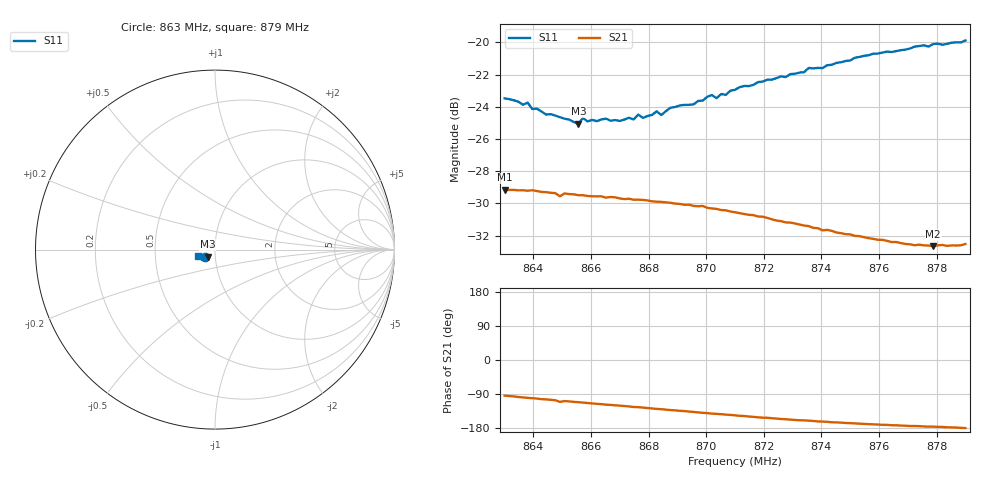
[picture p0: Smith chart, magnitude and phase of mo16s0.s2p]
# HZ S RI R 50
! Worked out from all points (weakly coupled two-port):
!   101 points, 863 MHz to 879 MHz, reference 50 ohm
!   highest |S21| = -29.15 dB at 863 MHz (marker M1); lowest = -32.7 dB at 877.88 MHz (marker M2)
!   lowest |S11| = -25.0 dB at 865.56 MHz (marker M3), VSWR 1.12, Z = 46 - j3.56 ohm
!   |S11| at or under -10 dB: start of sweep to end of sweep
!   S12 and S22 are empty: the file has one direction only
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8.63e8  -0.0541 -0.0396  -0.0024 -0.0348  0 0  0 0
8.6364e8  -0.0507 -0.0391  -0.00532 -0.0343  0 0  0 0
8.638e8  -0.0525 -0.0384  -0.00592 -0.0341  0 0  0 0
8.6396e8  -0.0489 -0.0383  -0.00651 -0.0341  0 0  0 0
8.6492e8  -0.0437 -0.039  -0.0117 -0.0312  0 0  0 0
8.6556e8  -0.0405 -0.0386  -0.0122 -0.0312  0 0  0 0
8.6572e8  -0.041 -0.0414  -0.0127 -0.031  0 0  0 0
8.6588e8  -0.04 -0.0404  -0.0133 -0.0306  0 0  0 0
8.67e8  -0.0377 -0.0428  -0.0166 -0.0283  0 0  0 0
8.6764e8  -0.0373 -0.0466  -0.0184 -0.0268  0 0  0 0
8.678e8  -0.0362 -0.0457  -0.0189 -0.0264  0 0  0 0
8.6828e8  -0.0368 -0.0488  -0.0202 -0.0249  0 0  0 0
8.6844e8  -0.0353 -0.0479  -0.0205 -0.0245  0 0  0 0
8.6876e8  -0.0367 -0.0508  -0.0213 -0.0236  0 0  0 0
8.6956e8  -0.038 -0.0518  -0.0227 -0.0212  0 0  0 0
8.702e8  -0.0406 -0.0554  -0.0239 -0.019  0 0  0 0
8.7036e8  -0.0392 -0.0545  -0.024 -0.0186  0 0  0 0
8.71e8  -0.0428 -0.0569  -0.0246 -0.0166  0 0  0 0
8.7372e8  -0.0567 -0.0606  -0.0251 -0.00869  0 0  0 0
8.7644e8  -0.0766 -0.0534  -0.0238 -0.00327  0 0  0 0
8.7788e8  -0.0879 -0.0451  -0.0232 -0.00169  0 0  0 0
8.79e8  -0.0946 -0.0367  -0.0237 -0.000164  0 0  0 0
